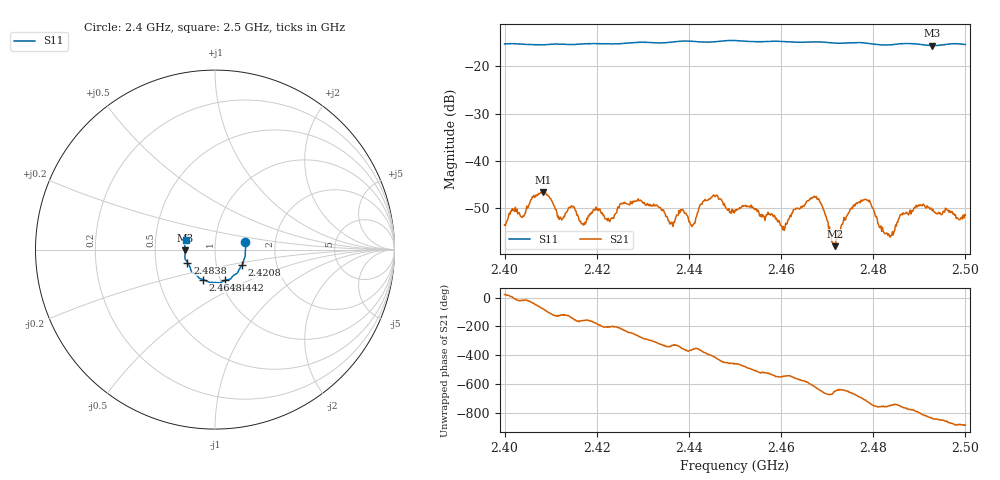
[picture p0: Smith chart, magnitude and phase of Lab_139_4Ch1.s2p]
# Hz S RI R 50
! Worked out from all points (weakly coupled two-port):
!   601 points, 2.4 GHz to 2.5 GHz, reference 50 ohm
!   highest |S21| = -46.60 dB at 2.4083 GHz (marker M1); lowest = -58.0 dB at 2.4717 GHz (marker M2)
!   lowest |S11| = -15.6 dB at 2.4928 GHz (marker M3), VSWR 1.40, Z = 35.8 - j0.348 ohm
!   |S11| at or under -10 dB: start of sweep to end of sweep
!   S12 and S22 are empty: the file has one direction only
!   S11 on the Smith chart (normalised r, x): 2.4 GHz: 1.40, +0.12; 2.4208 GHz: 1.33, -0.24; 2.4442 GHz: 1.05, -0.37; 2.4648 GHz: 0.83, -0.29; 2.4838 GHz: 0.73, -0.11; 2.5 GHz: 0.72, +0.08
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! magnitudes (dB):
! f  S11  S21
! 2.4 GHz  -15.3  -53.5
! 2.4083 GHz  -15.4  -46.6
! 2.412 GHz  -15.3  -52.0
! 2.4147 GHz  -15.4  -49.7
! 2.4167 GHz  -15.3  -53.3
! 2.4208 GHz  -15.2  -50.7
! 2.4333 GHz  -15.0  -49.7
! 2.4408 GHz  -14.7  -53.5
! 2.4442 GHz  -14.9  -48.2
! 2.45 GHz  -14.5  -50.4
! 2.4603 GHz  -14.7  -54.5
! 2.4648 GHz  -14.9  -49.5
! 2.4667 GHz  -14.8  -47.7
! 2.4685 GHz  -14.8  -48.8
! 2.4717 GHz  -15.1  -58.0
! 2.4753 GHz  -15.0  -49.8
! 2.4782 GHz  -15.0  -48.1
! 2.4833 GHz  -15.5  -55.4
! 2.4838 GHz  -15.4  -55.8
! 2.4863 GHz  -15.2  -51.4
! 2.4928 GHz  -15.6  -50.5
! 2.5 GHz  -15.4  -51.5
